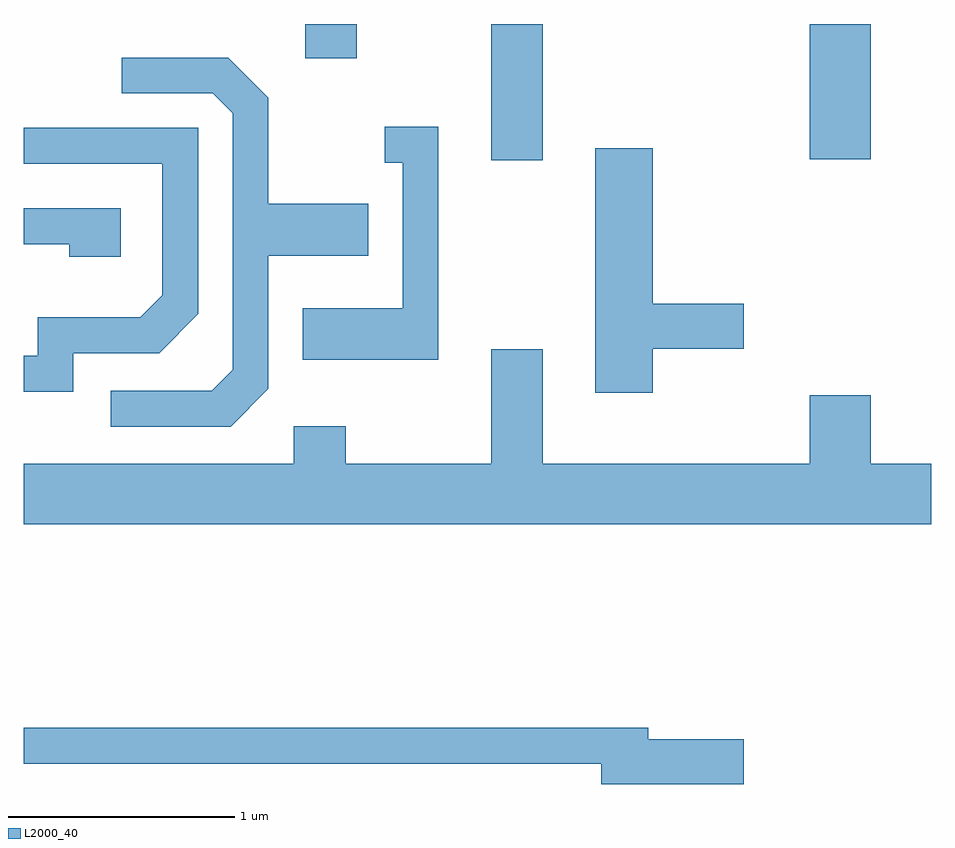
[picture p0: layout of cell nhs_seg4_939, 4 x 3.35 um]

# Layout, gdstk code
import gdstk
lib = gdstk.Library(unit=1e-6, precision=1e-09)
def R(c, l, rs):  # rectangles x0, y0, x1, y1
    for r in rs: c.add(gdstk.rectangle(r[:2], r[2:], *l))
def P(c, l, *ps):  # polygons
    for p in ps: c.add(gdstk.Polygon(p, *l))
L2000_40 = (2000, 40)

nhs_seg4_939 = lib.new_cell('nhs_seg4_939')
R(nhs_seg4_939, L2000_40, [(213.671,1367.381,213.899,1367.982), (215.076,1367.386,215.344,1367.982), (212.851,1367.831,213.079,1367.982)])
P(nhs_seg4_939, L2000_40, [(212.689,1366.374),(212.689,1366.961),(213.129,1366.961),(213.129,1367.189),(212.689,1367.189),(212.689,1367.657),(212.512,1367.834),(212.043,1367.834),(212.043,1367.676),(212.444,1367.676),(212.531,1367.589),(212.531,1366.457),(212.439,1366.364),(211.993,1366.364),(211.993,1366.206),(212.522,1366.206)],
  [(213.439,1367.529),(213.203,1367.529),(213.203,1367.371),(213.281,1367.371),(213.281,1366.729),(212.841,1366.729),(212.841,1366.501),(213.439,1366.501)],
  [(211.829,1366.531),(212.207,1366.531),(212.379,1366.704),(212.379,1367.524),(211.611,1367.524),(211.611,1367.366),(212.221,1367.366),(212.221,1366.787),(212.124,1366.689),(211.671,1366.689),(211.671,1366.519),(211.611,1366.519),(211.611,1366.361),(211.829,1366.361)],
  [(214.384,1366.551),(214.784,1366.551),(214.784,1366.749),(214.384,1366.749),(214.384,1367.434),(214.131,1367.434),(214.131,1366.356),(214.384,1366.356)],
  [(212.039,1367.169),(211.611,1367.169),(211.611,1367.011),(211.811,1367.011),(211.811,1366.956),(212.039,1366.956)],
  [(215.611,1366.044),(215.344,1366.044),(215.344,1366.344),(215.076,1366.344),(215.076,1366.044),(213.899,1366.044),(213.899,1366.549),(213.671,1366.549),(213.671,1366.044),(213.029,1366.044),(213.029,1366.209),(212.801,1366.209),(212.801,1366.044),(211.611,1366.044),(211.611,1365.776),(215.611,1365.776)],
  [(214.784,1364.829),(214.364,1364.829),(214.364,1364.879),(211.611,1364.879),(211.611,1364.721),(214.156,1364.721),(214.156,1364.631),(214.784,1364.631)])

lib.write_gds('nhs_seg4_939.gds')
